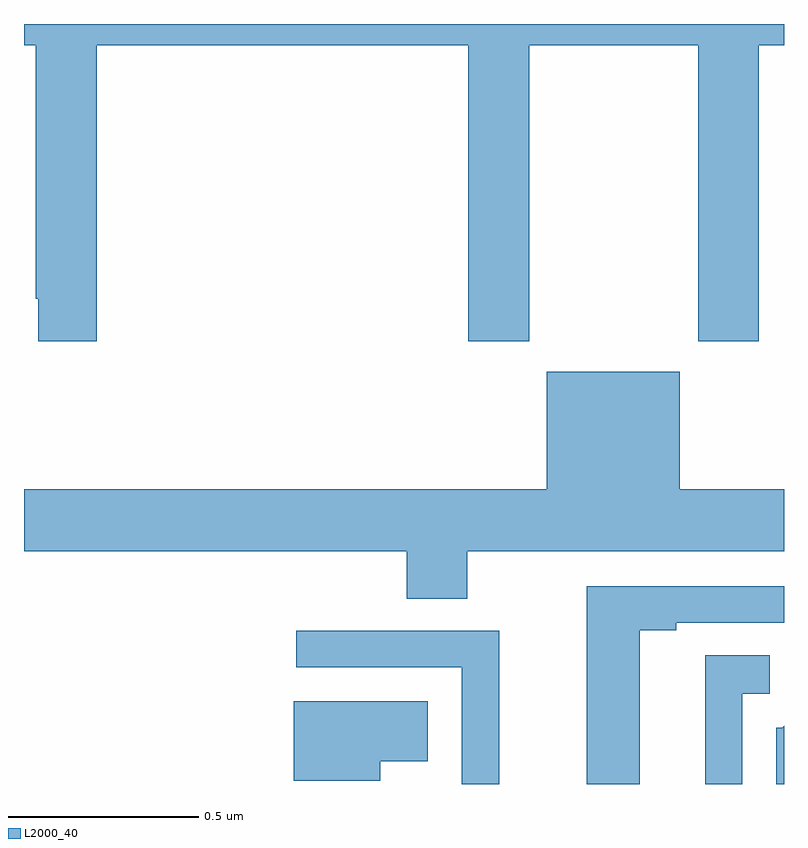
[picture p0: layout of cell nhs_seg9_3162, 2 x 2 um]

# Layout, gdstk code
import gdstk
lib = gdstk.Library(unit=1e-6, precision=1e-09)
def P(c, l, *ps):  # polygons
    for p in ps: c.add(gdstk.Polygon(p, *l))
L2000_40 = (2000, 40)

nhs_seg9_3162 = lib.new_cell('nhs_seg9_3162')
P(nhs_seg9_3162, L2000_40, [(150.191,1172.444),(151.169,1172.444),(151.169,1171.665),(151.329,1171.665),(151.329,1172.444),(151.774,1172.444),(151.774,1171.665),(151.934,1171.665),(151.934,1172.444),(152,1172.444),(152,1172.5),(150,1172.5),(150,1172.444),(150.031,1172.444),(150.031,1171.777),(150.037,1171.777),(150.037,1171.665),(150.191,1171.665)],
  [(151.167,1171.112),(152,1171.112),(152,1171.276),(151.726,1171.276),(151.726,1171.585),(151.376,1171.585),(151.376,1171.276),(150,1171.276),(150,1171.112),(151.007,1171.112),(151.007,1170.988),(151.167,1170.988)],
  [(151.621,1170.904),(151.717,1170.904),(151.717,1170.924),(152,1170.924),(152,1171.02),(151.481,1171.02),(151.481,1170.5),(151.621,1170.5)],
  [(151.251,1170.903),(150.717,1170.903),(150.717,1170.807),(151.152,1170.807),(151.152,1170.5),(151.251,1170.5)],
  [(151.89,1170.738),(151.963,1170.738),(151.963,1170.839),(151.793,1170.839),(151.793,1170.5),(151.89,1170.5)],
  [(150.937,1170.56),(151.063,1170.56),(151.063,1170.718),(150.71,1170.718),(150.71,1170.509),(150.937,1170.509)],
  [(152,1170.653),(151.995,1170.648),(151.98,1170.648),(151.98,1170.5),(152,1170.5)])

lib.write_gds('nhs_seg9_3162.gds')
